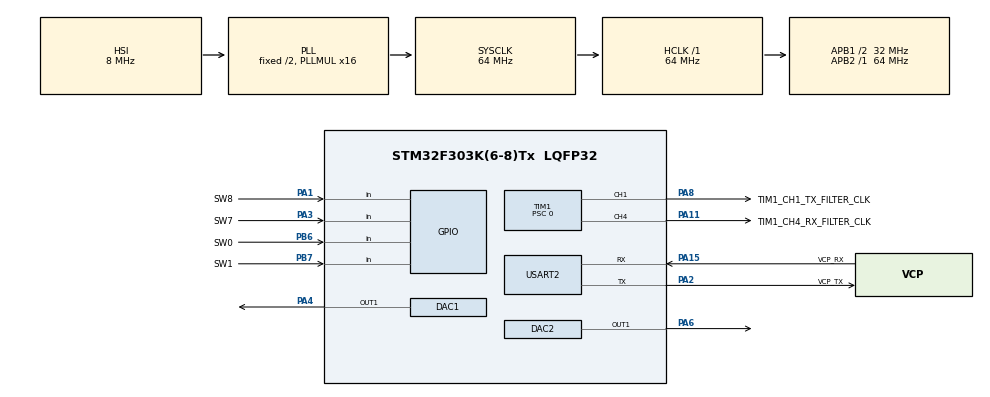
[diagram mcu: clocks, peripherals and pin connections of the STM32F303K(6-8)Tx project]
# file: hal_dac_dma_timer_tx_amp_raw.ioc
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DAC1.DAC_OutputBuffer=DAC_OUTPUTBUFFER_ENABLE
DAC1.DAC_Trigger=DAC_TRIGGER_T6_TRGO
DAC2.DAC_Trigger=DAC_TRIGGER_T7_TRGO
Dma.DAC1_CH1.0.Direction=DMA_MEMORY_TO_PERIPH
Dma.DAC1_CH1.0.Instance=DMA1_Channel3
Dma.DAC1_CH1.0.MemDataAlignment=DMA_MDATAALIGN_HALFWORD
Dma.DAC1_CH1.0.MemInc=DMA_MINC_ENABLE
Dma.DAC1_CH1.0.Mode=DMA_CIRCULAR
Dma.DAC1_CH1.0.PeriphDataAlignment=DMA_PDATAALIGN_HALFWORD
Dma.DAC1_CH1.0.PeriphInc=DMA_PINC_DISABLE
Dma.DAC1_CH1.0.Priority=DMA_PRIORITY_HIGH
Dma.DAC2_CH1.1.Direction=DMA_MEMORY_TO_PERIPH
Dma.DAC2_CH1.1.Instance=DMA1_Channel5
Dma.DAC2_CH1.1.MemDataAlignment=DMA_MDATAALIGN_HALFWORD
Dma.DAC2_CH1.1.MemInc=DMA_MINC_ENABLE
Dma.DAC2_CH1.1.Mode=DMA_CIRCULAR
Dma.DAC2_CH1.1.PeriphDataAlignment=DMA_PDATAALIGN_HALFWORD
Dma.DAC2_CH1.1.PeriphInc=DMA_PINC_DISABLE
Dma.DAC2_CH1.1.Priority=DMA_PRIORITY_HIGH
Dma.Request0=DAC1_CH1
Dma.Request1=DAC2_CH1
Mcu.Family=STM32F3
Mcu.Name=STM32F303K(6-8)Tx
Mcu.Package=LQFP32
NVIC.DMA1_Channel3_IRQn=true\:0\:0\:false\:false\:true\:false\:true\:true
NVIC.DMA1_Channel5_IRQn=true\:0\:0\:false\:false\:true\:false\:true\:true
NVIC.PriorityGroup=NVIC_PRIORITYGROUP_4
PA1.GPIO_Label=SW8
PA1.Signal=GPIO_Input
PA11.GPIO_Label=TIM1_CH4_RX_FILTER_CLK
PA11.GPIO_Speed=GPIO_SPEED_FREQ_MEDIUM
PA11.Signal=S_TIM1_CH4
PA13.GPIO_Label=SWDIO
PA13.Mode=Serial_Wire
PA13.Signal=SYS_JTMS-SWDIO
PA14.GPIO_Label=SWCLK
PA14.Mode=Serial_Wire
PA14.Signal=SYS_JTCK-SWCLK
PA15.GPIO_Label=VCP_RX
PA15.Mode=Asynchronous
PA15.Signal=USART2_RX
PA2.GPIO_Label=VCP_TX
PA2.Mode=Asynchronous
PA2.Signal=USART2_TX
PA3.GPIO_Label=SW7
PA3.Signal=GPIO_Input
PA4.Signal=COMP_DAC11_group
PA6.Signal=COMP_DAC21_group
PA8.GPIO_Label=TIM1_CH1_TX_FILTER_CLK
PA8.GPIO_Speed=GPIO_SPEED_FREQ_MEDIUM
PA8.Signal=S_TIM1_CH1
PB6.GPIO_Label=SW0
PB6.Signal=GPIO_Input
PB7.GPIO_Label=SW1
PB7.Signal=GPIO_Input
PF0\ /\ OSC_IN.GPIO_Label=MCO
PF0\ /\ OSC_IN.Mode=HSE-External-Clock-Source
PF0\ /\ OSC_IN.Signal=RCC_OSC_IN
ProjectManager.HeapSize=0x200
ProjectManager.StackSize=0x400
ProjectManager.TargetToolchain=STM32CubeIDE
RCC.AHBFreq_Value=64000000
RCC.APB1CLKDivider=RCC_HCLK_DIV2
RCC.APB1Freq_Value=32000000
RCC.APB1TimFreq_Value=64000000
RCC.APB2Freq_Value=64000000
RCC.APB2TimFreq_Value=64000000
RCC.CortexFreq_Value=64000000
RCC.HCLKFreq_Value=64000000
RCC.HSE_VALUE=8000000
RCC.HSI_VALUE=8000000
RCC.PLLMUL=RCC_PLL_MUL16
RCC.SYSCLKFreq_VALUE=64000000
RCC.SYSCLKSourceVirtual=RCC_SYSCLKSOURCE_PLLCLK
SH.COMP_DAC11_group.0=DAC1_OUT1,DAC_OUT1
SH.COMP_DAC21_group.0=DAC2_OUT1,Switch_Enable_OUT1
SH.S_TIM1_CH1.0=TIM1_CH1,Output Compare1 CH1
SH.S_TIM1_CH4.0=TIM1_CH4,Output Compare4 CH4
TIM1.Channel-Output\ Compare1\ CH1=TIM_CHANNEL_1
TIM1.Channel-Output\ Compare4\ CH4=TIM_CHANNEL_4
TIM1.OCMode_1=TIM_OCMODE_TOGGLE
TIM1.OCMode_4=TIM_OCMODE_TOGGLE
TIM1.Period=16
TIM1.Prescaler=0
TIM6.Period=10
TIM6.Prescaler=4
TIM6.TIM_MasterOutputTrigger=TIM_TRGO_UPDATE
TIM7.Period=6400
TIM7.TIM_MasterOutputTrigger=TIM_TRGO_UPDATE
USART2.VirtualMode-Asynchronous=VM_ASYNC
VP_TIM1_VS_ClockSourceINT.Mode=Internal
VP_TIM6_VS_ClockSourceINT.Mode=Enable_Timer
VP_TIM7_VS_ClockSourceINT.Mode=Enable_Timer
board=NUCLEO-F303K8

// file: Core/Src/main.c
/* USER CODE BEGIN Header */
/**
  ******************************************************************************
  * @file           : main.c
  * @brief          : Main program body
  ******************************************************************************
  * @attention
  *
  * Copyright (c) 2024 STMicroelectronics.
  * All rights reserved.
  *
  * This software is licensed under terms that can be found in the LICENSE file
  * in the root directory of this software component.
  * If no LICENSE file comes with this software, it is provided AS-IS.
  *
  ******************************************************************************
  */

//DAC2_OUT1 / pin 12 / PA6 (A5): unbuffered => AUDIO, timer 7 triggering
//note: the timer is considered an external trigger, so I think I need to use HAL_DAC_Start_DMA
//DMA config: DAC2_CH1, DMA1 channel 5, memory to peripheral, high priority
//"DMA request mapped on this DMA channel only if the corresponding remapping bit is set in the SYSCFG_CFGR1 or SYSCFGR3 register" (ref manual page 273), I think this is done already with the "__HAL_DMA_REMAP_CHANNEL_ENABLE" command

//DAC1_OUT1 / pin 10 / PA4 (A3): buffered => TX_AMP_RAW, timer 6 triggering

/* USER CODE END Header */
#include "main.h"

DAC_HandleTypeDef hdac1;
DAC_HandleTypeDef hdac2;
DMA_HandleTypeDef hdma_dac1_ch1;
DMA_HandleTypeDef hdma_dac2_ch1;

TIM_HandleTypeDef htim1;
TIM_HandleTypeDef htim6;
TIM_HandleTypeDef htim7;

UART_HandleTypeDef huart2;

void SystemClock_Config(void);
static void MX_GPIO_Init(void);
static void MX_DMA_Init(void);
static void MX_USART2_UART_Init(void);
static void MX_TIM7_Init(void);
static void MX_DAC1_Init(void);
static void MX_TIM6_Init(void);
static void MX_TIM1_Init(void);
static void MX_DAC2_Init(void);

/* USER CODE BEGIN 0 */

#define WAVE_BUFFER_CAPACITY 512

uint16_t waveAmplitude;//DAC counts ranging from [0,4095]
uint16_t waveFrequency;//[Hz]
uint32_t waveSize;//[points]
uint16_t waveBuffer[WAVE_BUFFER_CAPACITY];

const uint32_t dacOutputSampleRate = 64000000/4/10;

/**
 * sampleRate [samples/second]
 * frequency [Hz]
 * amplitude [12-bit DAC counts]
 * center [12-bit DAC counts]
 */
int GenerateWaveToTransmit(double sampleRate, double frequency, double amplitude, double center)
{
    double sampleTime = 1.0 / sampleRate;//[sec/sample]
    uint32_t samplesPerCycle = (uint32_t)round(sampleRate / frequency);

    if (samplesPerCycle >= WAVE_BUFFER_CAPACITY) return 2;

    for (uint32_t i = 0; i < samplesPerCycle; i++)
    {
        double timeS = (i) * sampleTime;
        double waveValue = amplitude * sin(2 * M_PI * frequency * timeS) + center;
        uint16_t waveValueInt = (uint16_t)round(waveValue);
        if (waveValueInt < 0) return -1;//waveValue = 0;//TODO: test and see if I can remove this
		if (waveValueInt > 4095) return 1;//waveValue = 4095;
        waveBuffer[i] = waveValueInt;
    }

    waveAmplitude = (uint16_t) amplitude;
    waveFrequency = (uint16_t) frequency;
    waveSize = samplesPerCycle;

    return 0;
}

/* USER CODE END 0 */

int main(void)
{

  /* MCU Configuration--------------------------------------------------------*/

  /* Reset of all peripherals, Initializes the Flash interface and the Systick. */
  HAL_Init();

  /* Configure the system clock */
  SystemClock_Config();

  /* Initialize all configured peripherals */
  MX_GPIO_Init();
  MX_DMA_Init();
  MX_USART2_UART_Init();
  MX_TIM7_Init();
  MX_DAC1_Init();
  MX_TIM6_Init();
  MX_TIM1_Init();
  MX_DAC2_Init();
  /* USER CODE BEGIN 2 */

  //HAL_DMA_Start_IT(&hdma_dac2_ch1, )
  //Enable the DAC channel using HAL_DAC_Start() or HAL_DAC_Start_DMA() functions
  //dac output voltage equation: DAC_OUTx = VREF+ * DOR / 4095

  __HAL_TIM_SET_COMPARE(&htim1, TIM_CHANNEL_1, 1);//same as htim1.Instance->CCR1 = 16;
  __HAL_TIM_SET_COMPARE(&htim1, TIM_CHANNEL_4, 1);//same as htim1.Instance->CCR4 = 16;

  HAL_TIM_OC_Start(&htim1, TIM_CHANNEL_1);
  HAL_TIM_OC_Start(&htim1, TIM_CHANNEL_4);

  //double sampleRate = 500000;//samples/sec
  double frequency = 10000;
  double amplitude = 2047.5;
  double center = 2047.5;
  int result = GenerateWaveToTransmit(dacOutputSampleRate, frequency, amplitude, center);
  if (result != 0) {
	  while(1) {
		  //todo: error code / light / etc
		  asm volatile("nop");
	  }
  }

	HAL_DAC_Stop_DMA(&hdac2, DAC_CHANNEL_1);
	HAL_DAC_Stop_DMA(&hdac1, DAC_CHANNEL_1);
	//memcpy(waveBuffer, tempBuffer, sizeof(uint16_t) * tempSize);
	//HAL_DAC_Start_DMA(&hdac2, DAC_CHANNEL_1, (uint32_t *)waveBuffer, waveSize, DAC_ALIGN_12B_R);
	HAL_DAC_Start_DMA(&hdac1, DAC_CHANNEL_1, (uint32_t *)waveBuffer, waveSize, DAC_ALIGN_12B_R);

	//timer output rate = 8 MHz / prescaler / timerperiod
	//__HAL_RCC_TIM7_CLK_ENABLE();
	//HAL_TIM_Base_Start(&htim7);   //HAL_TIM_Base_Start_DMA();  ???

	__HAL_RCC_TIM6_CLK_ENABLE();
	HAL_TIM_Base_Start(&htim6);   //HAL_TIM_Base_Start_DMA();  ???

  /* USER CODE END 2 */

  /* Infinite loop */
  /* USER CODE BEGIN WHILE */
  while (1)
  {
	  /*GPIO_PinState pinState0 = HAL_GPIO_ReadPin(SW0_GPIO_Port, SW0_Pin);
	  GPIO_PinState pinState1 = HAL_GPIO_ReadPin(SW1_GPIO_Port, SW1_Pin);
	  GPIO_PinState pinState8 = HAL_GPIO_ReadPin(SW8_GPIO_Port, SW8_Pin);
	  GPIO_PinState pinState7 = HAL_GPIO_ReadPin(SW7_GPIO_Port, SW7_Pin);

	  if (pinState0 == GPIO_PIN_RESET)
	  {
		  uint16_t newAmp = waveAmplitude + 50;
		  if (newAmp > 3000) newAmp = 3000;
		  GenerateWaveToTransmitInTempBuffer(waveFrequency, newAmp, 4096/2);
		  UpdateDACWaveAfterChange();

		  HAL_Delay(200);
	  }
	  if (pinState1 == GPIO_PIN_RESET)
	  {
		  int16_t newAmp = ((int16_t)waveAmplitude) - 50;
		  if (newAmp < 0) newAmp = 0;
		  GenerateWaveToTransmitInTempBuffer(waveFrequency, (uint16_t)newAmp, 4096/2);
		  UpdateDACWaveAfterChange();

		  HAL_Delay(200);
	  }
	  if (pinState8 == GPIO_PIN_RESET)
	  {
		  uint16_t newFreq = waveFrequency + 20;
		  if (newFreq > 3000) newFreq = 3000;
		  GenerateWaveToTransmitInTempBuffer(newFreq, waveAmplitude, 4096/2);
		  UpdateDACWaveAfterChange();

		  HAL_Delay(200);
	  }
	  if (pinState7 == GPIO_PIN_RESET)
	  {
		  int16_t newFreq = ((int16_t)waveFrequency) - 20;
		  if (newFreq < 20) newFreq = 20;
		  GenerateWaveToTransmitInTempBuffer((uint16_t)newFreq, waveAmplitude, 4096/2);
		  UpdateDACWaveAfterChange();

		  HAL_Delay(200);
	  }*/

    /* USER CODE END WHILE */

  }
}

void SystemClock_Config(void)
{
  RCC_OscInitTypeDef RCC_OscInitStruct = {0};
  RCC_ClkInitTypeDef RCC_ClkInitStruct = {0};
  RCC_PeriphCLKInitTypeDef PeriphClkInit = {0};

  /** Initializes the RCC Oscillators according to the specified parameters
  * in the RCC_OscInitTypeDef structure.
  */
  RCC_OscInitStruct.OscillatorType = RCC_OSCILLATORTYPE_HSI;
  RCC_OscInitStruct.HSIState = RCC_HSI_ON;
  RCC_OscInitStruct.HSICalibrationValue = RCC_HSICALIBRATION_DEFAULT;
  RCC_OscInitStruct.PLL.PLLState = RCC_PLL_ON;
  RCC_OscInitStruct.PLL.PLLSource = RCC_PLLSOURCE_HSI;
  RCC_OscInitStruct.PLL.PLLMUL = RCC_PLL_MUL16;
  if (HAL_RCC_OscConfig(&RCC_OscInitStruct) != HAL_OK)
  {
    Error_Handler();
  }

  /** Initializes the CPU, AHB and APB buses clocks
  */
  RCC_ClkInitStruct.ClockType = RCC_CLOCKTYPE_HCLK|RCC_CLOCKTYPE_SYSCLK
                              |RCC_CLOCKTYPE_PCLK1|RCC_CLOCKTYPE_PCLK2;
  RCC_ClkInitStruct.SYSCLKSource = RCC_SYSCLKSOURCE_PLLCLK;
  RCC_ClkInitStruct.AHBCLKDivider = RCC_SYSCLK_DIV1;
  RCC_ClkInitStruct.APB1CLKDivider = RCC_HCLK_DIV2;
  RCC_ClkInitStruct.APB2CLKDivider = RCC_HCLK_DIV1;

  if (HAL_RCC_ClockConfig(&RCC_ClkInitStruct, FLASH_LATENCY_2) != HAL_OK)
  {
    Error_Handler();
  }
  PeriphClkInit.PeriphClockSelection = RCC_PERIPHCLK_TIM1;
  PeriphClkInit.Tim1ClockSelection = RCC_TIM1CLK_HCLK;
  if (HAL_RCCEx_PeriphCLKConfig(&PeriphClkInit) != HAL_OK)
  {
    Error_Handler();
  }
}

static void MX_DAC1_Init(void)
{

  DAC_ChannelConfTypeDef sConfig = {0};

  /** DAC Initialization
  */
  hdac1.Instance = DAC1;
  if (HAL_DAC_Init(&hdac1) != HAL_OK)
  {
    Error_Handler();
  }

  /** DAC channel OUT1 config
  */
  sConfig.DAC_Trigger = DAC_TRIGGER_T6_TRGO;
  sConfig.DAC_OutputBuffer = DAC_OUTPUTBUFFER_ENABLE;
  if (HAL_DAC_ConfigChannel(&hdac1, &sConfig, DAC_CHANNEL_1) != HAL_OK)
  {
    Error_Handler();
  }

}

static void MX_DAC2_Init(void)
{

  DAC_ChannelConfTypeDef sConfig = {0};

  /** DAC Initialization
  */
  hdac2.Instance = DAC2;
  if (HAL_DAC_Init(&hdac2) != HAL_OK)
  {
    Error_Handler();
  }

  /** DAC channel OUT1 config
  */
  sConfig.DAC_Trigger = DAC_TRIGGER_T7_TRGO;
  sConfig.DAC_OutputSwitch = DAC_OUTPUTSWITCH_ENABLE;
  if (HAL_DAC_ConfigChannel(&hdac2, &sConfig, DAC_CHANNEL_1) != HAL_OK)
  {
    Error_Handler();
  }

}

static void MX_TIM1_Init(void)
{

  TIM_ClockConfigTypeDef sClockSourceConfig = {0};
  TIM_MasterConfigTypeDef sMasterConfig = {0};
  TIM_OC_InitTypeDef sConfigOC = {0};
  TIM_BreakDeadTimeConfigTypeDef sBreakDeadTimeConfig = {0};

  htim1.Instance = TIM1;
  htim1.Init.Prescaler = 0;
  htim1.Init.CounterMode = TIM_COUNTERMODE_UP;
  htim1.Init.Period = 16;
  htim1.Init.ClockDivision = TIM_CLOCKDIVISION_DIV1;
  htim1.Init.RepetitionCounter = 0;
  htim1.Init.AutoReloadPreload = TIM_AUTORELOAD_PRELOAD_DISABLE;
  if (HAL_TIM_Base_Init(&htim1) != HAL_OK)
  {
    Error_Handler();
  }
  sClockSourceConfig.ClockSource = TIM_CLOCKSOURCE_INTERNAL;
  if (HAL_TIM_ConfigClockSource(&htim1, &sClockSourceConfig) != HAL_OK)
  {
    Error_Handler();
  }
  if (HAL_TIM_OC_Init(&htim1) != HAL_OK)
  {
    Error_Handler();
  }
  sMasterConfig.MasterOutputTrigger = TIM_TRGO_RESET;
  sMasterConfig.MasterOutputTrigger2 = TIM_TRGO2_RESET;
  sMasterConfig.MasterSlaveMode = TIM_MASTERSLAVEMODE_DISABLE;
  if (HAL_TIMEx_MasterConfigSynchronization(&htim1, &sMasterConfig) != HAL_OK)
  {
    Error_Handler();
  }
  sConfigOC.OCMode = TIM_OCMODE_TOGGLE;
  sConfigOC.Pulse = 0;
  sConfigOC.OCPolarity = TIM_OCPOLARITY_HIGH;
  sConfigOC.OCNPolarity = TIM_OCNPOLARITY_HIGH;
  sConfigOC.OCFastMode = TIM_OCFAST_DISABLE;
  sConfigOC.OCIdleState = TIM_OCIDLESTATE_RESET;
  sConfigOC.OCNIdleState = TIM_OCNIDLESTATE_RESET;
  if (HAL_TIM_OC_ConfigChannel(&htim1, &sConfigOC, TIM_CHANNEL_1) != HAL_OK)
  {
    Error_Handler();
  }
  if (HAL_TIM_OC_ConfigChannel(&htim1, &sConfigOC, TIM_CHANNEL_4) != HAL_OK)
  {
    Error_Handler();
  }
  sBreakDeadTimeConfig.OffStateRunMode = TIM_OSSR_DISABLE;
  sBreakDeadTimeConfig.OffStateIDLEMode = TIM_OSSI_DISABLE;
  sBreakDeadTimeConfig.LockLevel = TIM_LOCKLEVEL_OFF;
  sBreakDeadTimeConfig.DeadTime = 0;
  sBreakDeadTimeConfig.BreakState = TIM_BREAK_DISABLE;
  sBreakDeadTimeConfig.BreakPolarity = TIM_BREAKPOLARITY_HIGH;
  sBreakDeadTimeConfig.BreakFilter = 0;
  sBreakDeadTimeConfig.Break2State = TIM_BREAK2_DISABLE;
  sBreakDeadTimeConfig.Break2Polarity = TIM_BREAK2POLARITY_HIGH;
  sBreakDeadTimeConfig.Break2Filter = 0;
  sBreakDeadTimeConfig.AutomaticOutput = TIM_AUTOMATICOUTPUT_DISABLE;
  if (HAL_TIMEx_ConfigBreakDeadTime(&htim1, &sBreakDeadTimeConfig) != HAL_OK)
  {
    Error_Handler();
  }
  HAL_TIM_MspPostInit(&htim1);

}

static void MX_TIM6_Init(void)
{

  TIM_MasterConfigTypeDef sMasterConfig = {0};

  htim6.Instance = TIM6;
  htim6.Init.Prescaler = 4;
  htim6.Init.CounterMode = TIM_COUNTERMODE_UP;
  htim6.Init.Period = 10;
  htim6.Init.AutoReloadPreload = TIM_AUTORELOAD_PRELOAD_DISABLE;
  if (HAL_TIM_Base_Init(&htim6) != HAL_OK)
  {
    Error_Handler();
  }
  sMasterConfig.MasterOutputTrigger = TIM_TRGO_UPDATE;
  sMasterConfig.MasterSlaveMode = TIM_MASTERSLAVEMODE_DISABLE;
  if (HAL_TIMEx_MasterConfigSynchronization(&htim6, &sMasterConfig) != HAL_OK)
  {
    Error_Handler();
  }

}

static void MX_TIM7_Init(void)
{

  TIM_MasterConfigTypeDef sMasterConfig = {0};

  htim7.Instance = TIM7;
  htim7.Init.Prescaler = 0;
  htim7.Init.CounterMode = TIM_COUNTERMODE_UP;
  htim7.Init.Period = 6400;
  htim7.Init.AutoReloadPreload = TIM_AUTORELOAD_PRELOAD_DISABLE;
  if (HAL_TIM_Base_Init(&htim7) != HAL_OK)
  {
    Error_Handler();
  }
  sMasterConfig.MasterOutputTrigger = TIM_TRGO_UPDATE;
  sMasterConfig.MasterSlaveMode = TIM_MASTERSLAVEMODE_DISABLE;
  if (HAL_TIMEx_MasterConfigSynchronization(&htim7, &sMasterConfig) != HAL_OK)
  {
    Error_Handler();
  }

}

static void MX_USART2_UART_Init(void)
{

  huart2.Instance = USART2;
  huart2.Init.BaudRate = 38400;
  huart2.Init.WordLength = UART_WORDLENGTH_8B;
  huart2.Init.StopBits = UART_STOPBITS_1;
  huart2.Init.Parity = UART_PARITY_NONE;
  huart2.Init.Mode = UART_MODE_TX_RX;
  huart2.Init.HwFlowCtl = UART_HWCONTROL_NONE;
  huart2.Init.OverSampling = UART_OVERSAMPLING_16;
  huart2.Init.OneBitSampling = UART_ONE_BIT_SAMPLE_DISABLE;
  huart2.AdvancedInit.AdvFeatureInit = UART_ADVFEATURE_NO_INIT;
  if (HAL_UART_Init(&huart2) != HAL_OK)
  {
    Error_Handler();
  }

}

static void MX_DMA_Init(void)
{

  /* DMA controller clock enable */
  __HAL_RCC_DMA1_CLK_ENABLE();

  /* DMA interrupt init */
  /* DMA1_Channel3_IRQn interrupt configuration */
  HAL_NVIC_SetPriority(DMA1_Channel3_IRQn, 0, 0);
  HAL_NVIC_EnableIRQ(DMA1_Channel3_IRQn);
  /* DMA1_Channel5_IRQn interrupt configuration */
  HAL_NVIC_SetPriority(DMA1_Channel5_IRQn, 0, 0);
  HAL_NVIC_EnableIRQ(DMA1_Channel5_IRQn);

}

static void MX_GPIO_Init(void)
{
  GPIO_InitTypeDef GPIO_InitStruct = {0};

  /* GPIO Ports Clock Enable */
  __HAL_RCC_GPIOF_CLK_ENABLE();
  __HAL_RCC_GPIOA_CLK_ENABLE();
  __HAL_RCC_GPIOB_CLK_ENABLE();

  /*Configure GPIO pins : SW8_Pin SW7_Pin */
  GPIO_InitStruct.Pin = SW8_Pin|SW7_Pin;
  GPIO_InitStruct.Mode = GPIO_MODE_INPUT;
  GPIO_InitStruct.Pull = GPIO_NOPULL;
  HAL_GPIO_Init(GPIOA, &GPIO_InitStruct);

  /*Configure GPIO pins : SW0_Pin SW1_Pin */
  GPIO_InitStruct.Pin = SW0_Pin|SW1_Pin;
  GPIO_InitStruct.Mode = GPIO_MODE_INPUT;
  GPIO_InitStruct.Pull = GPIO_NOPULL;
  HAL_GPIO_Init(GPIOB, &GPIO_InitStruct);

}

void Error_Handler(void)
{
  __disable_irq();
  while (1)
  {
  }
}
